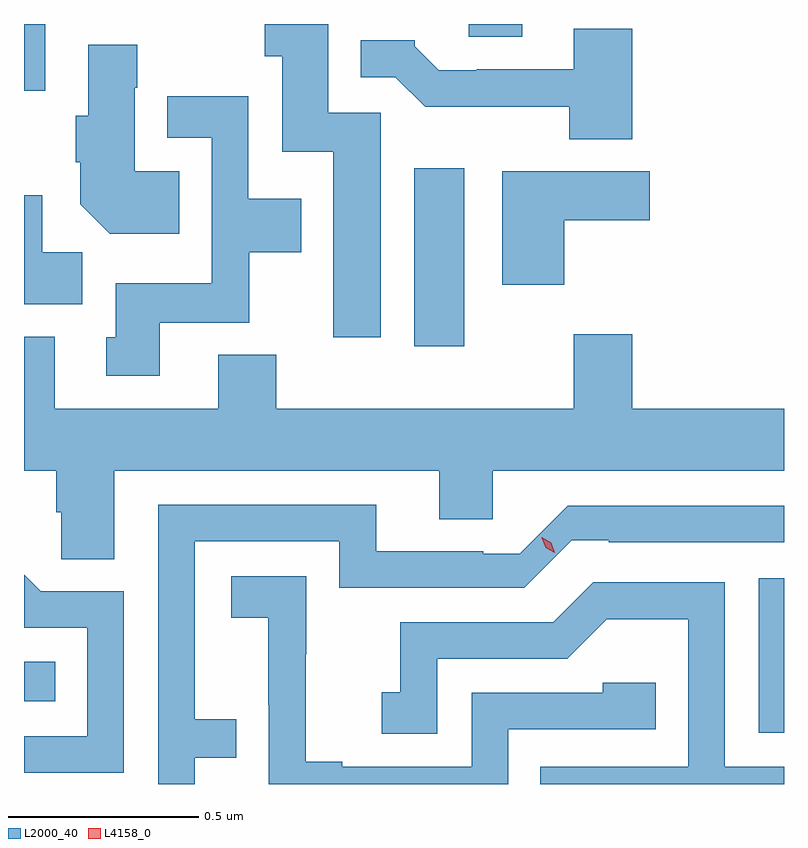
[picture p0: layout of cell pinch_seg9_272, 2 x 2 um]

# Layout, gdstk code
import gdstk
lib = gdstk.Library(unit=1e-6, precision=1e-09)
def R(c, l, rs):  # rectangles x0, y0, x1, y1
    for r in rs: c.add(gdstk.rectangle(r[:2], r[2:], *l))
def P(c, l, *ps):  # polygons
    for p in ps: c.add(gdstk.Polygon(p, *l))
L2000_40 = (2000, 40)
L4158_0 = (4158, 0)

pinch_seg9_272 = lib.new_cell('pinch_seg9_272')
R(pinch_seg9_272, L2000_40, [(516.132,1226.367,516.198,1226.773), (514.198,1226.45,514.28,1226.554), (515.225,1227.384,515.356,1227.853), (514.198,1228.056,514.254,1228.232), (515.369,1228.198,515.509,1228.232)])
P(pinch_seg9_272, L2000_40, [(515.137,1227.999),(514.999,1227.999),(514.999,1228.232),(514.831,1228.232),(514.831,1228.147),(514.877,1228.147),(514.877,1227.896),(515.012,1227.896),(515.012,1227.408),(515.137,1227.408)],
  [(515.798,1228.219),(515.645,1228.219),(515.645,1228.113),(515.389,1228.113),(515.389,1228.11),(515.29,1228.11),(515.226,1228.174),(515.226,1228.189),(515.084,1228.189),(515.084,1228.092),(515.175,1228.092),(515.254,1228.014),(515.633,1228.014),(515.633,1227.929),(515.798,1227.929)],
  [(514.607,1227.844),(514.489,1227.844),(514.489,1228.064),(514.496,1228.064),(514.496,1228.177),(514.367,1228.177),(514.367,1227.99),(514.334,1227.99),(514.334,1227.868),(514.346,1227.868),(514.346,1227.758),(514.424,1227.68),(514.607,1227.68)],
  [(514.555,1227.446),(514.791,1227.446),(514.791,1227.632),(514.927,1227.632),(514.927,1227.772),(514.788,1227.772),(514.788,1228.042),(514.575,1228.042),(514.575,1227.933),(514.692,1227.933),(514.692,1227.55),(514.439,1227.55),(514.439,1227.408),(514.415,1227.408),(514.415,1227.306),(514.555,1227.306)],
  [(515.62,1227.715),(515.845,1227.715),(515.845,1227.844),(515.456,1227.844),(515.456,1227.546),(515.62,1227.546)],
  [(514.351,1227.632),(514.246,1227.632),(514.246,1227.781),(514.198,1227.781),(514.198,1227.494),(514.351,1227.494)],
  [(514.435,1227.056),(515.291,1227.056),(515.291,1226.929),(515.431,1226.929),(515.431,1227.056),(516.198,1227.056),(516.198,1227.22),(515.798,1227.22),(515.798,1227.415),(515.645,1227.415),(515.645,1227.22),(514.862,1227.22),(514.862,1227.361),(514.709,1227.361),(514.709,1227.22),(514.279,1227.22),(514.279,1227.409),(514.198,1227.409),(514.198,1227.056),(514.283,1227.056),(514.283,1226.947),(514.296,1226.947),(514.296,1226.824),(514.435,1226.824)],
  [(514.647,1226.301),(514.757,1226.301),(514.757,1226.402),(514.647,1226.402),(514.647,1226.871),(515.028,1226.871),(515.028,1226.748),(515.514,1226.748),(515.64,1226.874),(515.737,1226.874),(515.737,1226.868),(516.198,1226.868),(516.198,1226.964),(515.629,1226.964),(515.503,1226.838),(515.406,1226.838),(515.406,1226.844),(515.125,1226.844),(515.125,1226.967),(514.551,1226.967),(514.551,1226.232),(514.647,1226.232)],
  [(514.461,1226.739),(514.242,1226.739),(514.198,1226.783),(514.198,1226.643),(514.365,1226.643),(514.365,1226.358),(514.198,1226.358),(514.198,1226.262),(514.461,1226.262)],
  [(515.472,1226.376),(515.861,1226.376),(515.861,1226.499),(515.721,1226.499),(515.721,1226.472),(515.376,1226.472),(515.376,1226.277),(515.035,1226.277),(515.035,1226.29),(514.94,1226.29),(514.94,1226.573),(514.941,1226.573),(514.941,1226.779),(514.743,1226.779),(514.743,1226.669),(514.841,1226.669),(514.841,1226.441),(514.842,1226.441),(514.842,1226.232),(515.472,1226.232)],
  [(516.198,1226.277),(516.042,1226.277),(516.042,1226.763),(515.696,1226.763),(515.591,1226.658),(515.188,1226.658),(515.188,1226.473),(515.139,1226.473),(515.139,1226.364),(515.286,1226.364),(515.286,1226.562),(515.628,1226.562),(515.732,1226.666),(515.946,1226.666),(515.946,1226.277),(515.557,1226.277),(515.557,1226.232),(516.198,1226.232)])
P(pinch_seg9_272, L4158_0, [(515.595,1226.841),(515.571,1226.854),(515.561,1226.88),(515.561,1226.881),(515.561,1226.881),(515.586,1226.867),(515.595,1226.841),(515.595,1226.841)])

lib.write_gds('pinch_seg9_272.gds')
